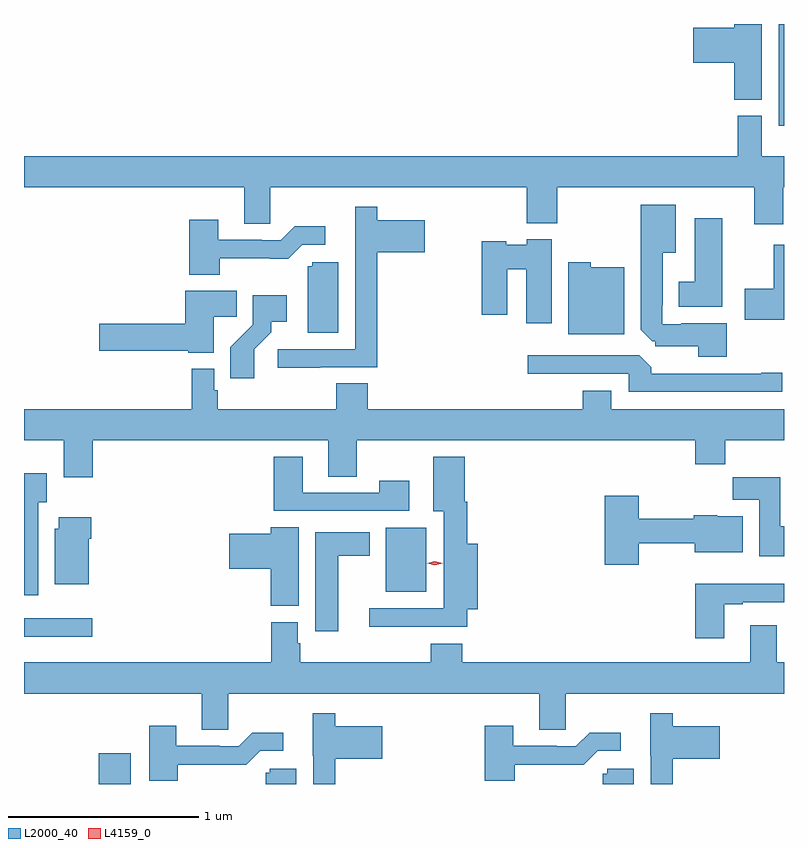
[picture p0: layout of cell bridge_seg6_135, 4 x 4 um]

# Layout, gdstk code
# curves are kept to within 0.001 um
import gdstk
lib = gdstk.Library(unit=1e-6, precision=1e-09)
def R(c, l, rs):  # rectangles x0, y0, x1, y1
    for r in rs: c.add(gdstk.rectangle(r[:2], r[2:], *l))
def P(c, l, *ps):  # polygons
    for p in ps: c.add(gdstk.Polygon(p, *l))
L2000_40 = (2000, 40)
L4159_0 = (4159, 0)

bridge_seg6_135 = lib.new_cell('bridge_seg6_135')
R(bridge_seg6_135, L2000_40, [(411.974,966.84,412.144,967.003), (411.581,967.616,411.94,967.713), (413.486,967.853,413.698,968.188), (415.554,970.304,415.581,970.84)])
P(bridge_seg6_135, L2000_40, [(415.465,970.84),(415.319,970.84),(415.319,970.82),(415.104,970.82),(415.104,970.637),(415.319,970.637),(415.319,970.441),(415.465,970.441)],
  [(415.577,969.98),(415.581,969.98),(415.581,970.144),(415.465,970.144),(415.465,970.356),(415.337,970.356),(415.337,970.144),(411.581,970.144),(411.581,969.98),(412.739,969.98),(412.739,969.79),(412.878,969.79),(412.878,969.98),(414.227,969.98),(414.227,969.791),(414.387,969.791),(414.387,969.98),(415.424,969.98),(415.424,969.786),(415.577,969.786)],
  [(415.279,969.265),(415.039,969.265),(415.039,969.261),(414.939,969.261),(414.939,969.361),(414.943,969.361),(414.943,969.635),(415.012,969.635),(415.012,969.889),(414.827,969.889),(414.827,969.231),(414.887,969.171),(414.903,969.171),(414.903,969.144),(415.13,969.144),(415.13,969.089),(415.279,969.089)],
  [(413.141,969.033),(413.441,969.033),(413.441,969.638),(413.689,969.638),(413.689,969.808),(413.441,969.808),(413.441,969.877),(413.324,969.877),(413.324,969.654),(413.325,969.654),(413.325,969.129),(412.917,969.129),(412.917,969.031),(413.141,969.031)],
  [(415.255,969.817),(415.112,969.817),(415.112,969.484),(415.028,969.484),(415.028,969.353),(415.255,969.353)],
  [(412.611,969.606),(412.973,969.605),(413.046,969.678),(413.167,969.678),(413.167,969.775),(413.005,969.775),(412.932,969.702),(412.832,969.702),(412.832,969.705),(412.603,969.705),(412.603,969.811),(412.451,969.811),(412.451,969.521),(412.611,969.521)],
  [(414.358,969.706),(414.228,969.706),(414.228,969.679),(414.12,969.679),(414.12,969.697),(413.99,969.697),(413.99,969.309),(414.124,969.309),(414.124,969.55),(414.224,969.55),(414.224,969.264),(414.358,969.264)],
  [(415.581,969.679),(415.526,969.679),(415.526,969.447),(415.374,969.447),(415.374,969.284),(415.581,969.284)],
  [(414.739,969.559),(414.564,969.559),(414.564,969.586),(414.446,969.586),(414.446,969.206),(414.739,969.206)],
  [(413.236,969.585),(413.097,969.585),(413.097,969.564),(413.075,969.564),(413.075,969.216),(413.236,969.216)],
  [(412.579,969.298),(412.7,969.298),(412.7,969.436),(412.43,969.436),(412.43,969.263),(411.978,969.263),(411.978,969.121),(412.446,969.121),(412.446,969.11),(412.579,969.11)],
  [(412.792,969.127),(412.882,969.217),(412.882,969.272),(412.963,969.272),(412.963,969.412),(412.785,969.412),(412.785,969.257),(412.666,969.138),(412.666,968.976),(412.792,968.976)],
  [(415.573,969.005),(415.46,969.005),(415.46,969),(414.881,969),(414.881,969.034),(414.819,969.096),(414.231,969.096),(414.231,969),(414.765,969),(414.765,968.904),(415.573,968.904)],
  [(411.944,968.648),(413.183,968.648),(413.183,968.458),(413.331,968.458),(413.331,968.648),(415.115,968.648),(415.115,968.524),(415.271,968.524),(415.271,968.648),(415.581,968.648),(415.581,968.812),(414.673,968.812),(414.673,968.911),(414.521,968.911),(414.521,968.812),(413.39,968.812),(413.39,968.948),(413.225,968.948),(413.225,968.812),(412.601,968.812),(412.601,968.913),(412.581,968.913),(412.581,969.025),(412.465,969.025),(412.465,968.812),(411.581,968.812),(411.581,968.648),(411.791,968.648),(411.791,968.454),(411.944,968.454)],
  [(413.915,967.76),(413.968,967.76),(413.968,968.104),(413.915,968.104),(413.915,968.325),(413.902,968.325),(413.902,968.563),(413.735,968.563),(413.735,968.276),(413.789,968.276),(413.789,967.764),(413.397,967.764),(413.397,967.667),(413.915,967.667)],
  [(413.608,968.437),(413.452,968.437),(413.452,968.373),(413.047,968.373),(413.047,968.563),(412.895,968.563),(412.895,968.277),(413.608,968.277)],
  [(411.655,968.322),(411.7,968.322),(411.7,968.476),(411.581,968.476),(411.581,967.833),(411.655,967.833)],
  [(415.581,968.196),(415.561,968.196),(415.561,968.455),(415.312,968.455),(415.312,968.336),(415.451,968.336),(415.451,968.04),(415.581,968.04)],
  [(414.816,968.107),(415.112,968.107),(415.112,968.06),(415.363,968.06),(415.363,968.248),(415.23,968.248),(415.23,968.254),(415.105,968.254),(415.105,968.236),(414.816,968.236),(414.816,968.356),(414.638,968.356),(414.638,967.995),(414.816,967.995)],
  [(411.922,968.132),(411.935,968.132),(411.935,968.245),(411.764,968.245),(411.764,968.184),(411.743,968.184),(411.743,967.892),(411.922,967.892)],
  [(413.026,968.192),(412.88,968.192),(412.88,968.156),(412.662,968.156),(412.662,967.973),(412.88,967.973),(412.88,967.777),(413.026,967.777)],
  [(413.236,968.042),(413.401,968.042),(413.401,968.164),(413.114,968.164),(413.114,967.644),(413.236,967.644)],
  [(415.267,967.785),(415.363,967.785),(415.363,967.797),(415.581,967.797),(415.581,967.894),(415.115,967.894),(415.115,967.608),(415.267,967.608)],
  [(413.888,967.579),(413.723,967.579),(413.723,967.48),(413.036,967.48),(413.036,967.581),(413.023,967.581),(413.023,967.692),(412.883,967.692),(412.883,967.48),(411.581,967.48),(411.581,967.316),(412.517,967.316),(412.517,967.126),(412.656,967.126),(412.656,967.316),(414.293,967.316),(414.293,967.126),(414.432,967.126),(414.432,967.316),(415.581,967.316),(415.581,967.48),(415.543,967.48),(415.543,967.675),(415.403,967.675),(415.403,967.48),(413.888,967.48)],
  [(414.995,966.974),(415.243,966.974),(415.243,967.144),(414.995,967.144),(414.995,967.213),(414.878,967.213),(414.878,966.99),(414.879,966.99),(414.879,966.84),(414.995,966.84)],
  [(413.219,966.974),(413.467,966.974),(413.467,967.144),(413.219,967.144),(413.219,967.213),(413.102,967.213),(413.102,966.99),(413.103,966.99),(413.103,966.84),(413.219,966.84)],
  [(414.165,966.942),(414.527,966.941),(414.6,967.014),(414.721,967.014),(414.721,967.111),(414.559,967.111),(414.486,967.038),(414.386,967.038),(414.386,967.041),(414.157,967.041),(414.157,967.147),(414.005,967.147),(414.005,966.857),(414.165,966.857)],
  [(412.389,966.942),(412.751,966.941),(412.824,967.014),(412.945,967.014),(412.945,967.111),(412.783,967.111),(412.71,967.038),(412.61,967.038),(412.61,967.041),(412.381,967.041),(412.381,967.147),(412.241,967.147),(412.241,966.857),(412.389,966.857)],
  [(414.79,966.921),(414.651,966.921),(414.651,966.894),(414.626,966.894),(414.626,966.84),(414.79,966.84)],
  [(413.014,966.921),(412.875,966.921),(412.875,966.9),(412.853,966.9),(412.853,966.84),(413.014,966.84)])
P(bridge_seg6_135, L4159_0, [(413.743,967.992),(413.703,968.002),(413.703,968.002),(413.703,968.003),(413.743,968.012),(413.784,968.003),(413.784,968.002),(413.784,968.002)])

lib.write_gds('bridge_seg6_135.gds')
